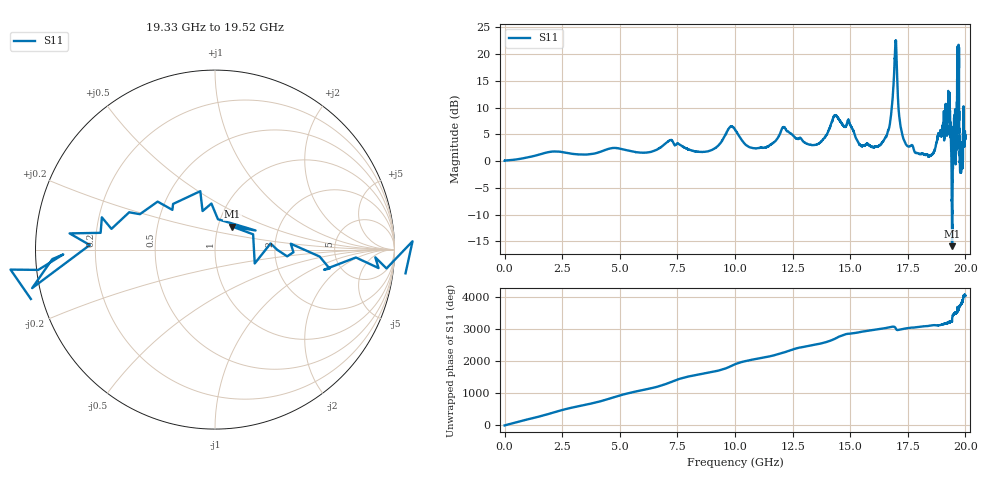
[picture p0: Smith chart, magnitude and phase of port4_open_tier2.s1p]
! Created with skrf 1.8.0 (http://scikit-rf.org).
# GHz S RI R 50.0
!freq ReS11 ImS11
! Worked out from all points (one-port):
!   10001 points, 1 MHz to 20 GHz, reference 50 ohm
!   lowest |S11| = -15.9 dB at 19.42 GHz (marker M1), VSWR 1.38, Z = 58.6 + j15.4 ohm
!   |S11| at or under -10 dB: 19.41576 GHz to 19.43173 GHz (15.97 MHz wide, 0.0822 % of centre)
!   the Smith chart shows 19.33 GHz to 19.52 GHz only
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0.001  1.004 0.0112
2.500875  -0.6224 1.042
4.016799  1.19 0.0993
5.00075  -1.098 -0.7101
5.868707  1.198 0.0419
6.942653  -1.397 -0.3253
7.500625  1.426 -0.2816
8.622569  -1.203 0.2005
9.40653  0.4764 -1.433
10.0005  -0.4224 1.928
10.79646  -0.4206 -1.252
11.65242  1.442 0.3076
12.0904  -0.4384 2.022
12.50038  -1.635 -0.626
13.62832  1.423 0.311
14.11029  -0.6343 1.931
14.36428  -2.659 -0.1507
15.00025  1.968 -0.9215
16.62817  -1.765 0.6456
16.84016  -3.824 -0.7481
16.89816  -6.026 -1.144
17.03615  0.2795 6.224
17.10414  -0.139 2.979
17.50013  -1.145 0.756
18.85006  -1.168 -1.391
19.28604  3.063 -1.669
19.42203  0.0973 0.1279
20  0.5645 1.541
